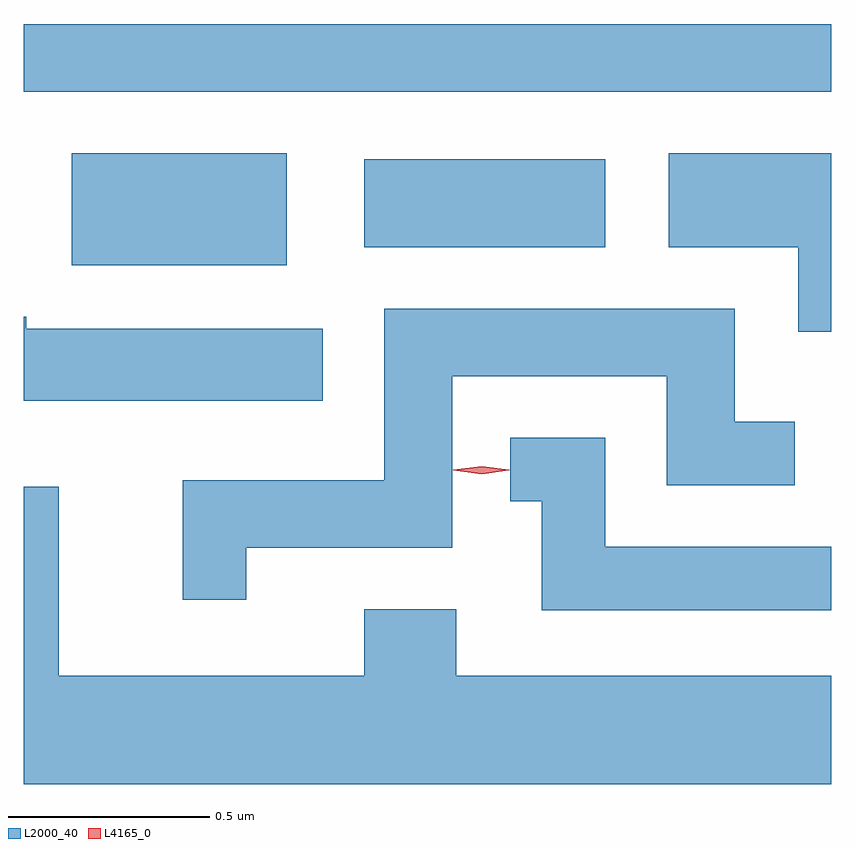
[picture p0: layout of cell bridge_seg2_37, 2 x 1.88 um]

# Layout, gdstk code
import gdstk
lib = gdstk.Library(unit=1e-6, precision=1e-09)
def R(c, l, rs):  # rectangles x0, y0, x1, y1
    for r in rs: c.add(gdstk.rectangle(r[:2], r[2:], *l))
def P(c, l, *ps):  # polygons
    for p in ps: c.add(gdstk.Polygon(p, *l))
L2000_40 = (2000, 40)
L4165_0 = (4165, 0)

bridge_seg2_37 = lib.new_cell('bridge_seg2_37')
R(bridge_seg2_37, L2000_40, [(1409.996,1054.041,1410.529,1054.319), (1410.721,1054.086,1411.319,1054.304), (1409.878,1054.471,1411.878,1054.639)])
P(bridge_seg2_37, L2000_40, [(1411.878,1054.319),(1411.476,1054.319),(1411.476,1054.086),(1411.796,1054.086),(1411.796,1053.876),(1411.878,1053.876)],
  [(1410.429,1053.341),(1410.939,1053.341),(1410.939,1053.766),(1411.471,1053.766),(1411.471,1053.496),(1411.788,1053.496),(1411.788,1053.654),(1411.639,1053.654),(1411.639,1053.934),(1410.771,1053.934),(1410.771,1053.509),(1410.271,1053.509),(1410.271,1053.213),(1410.429,1053.213)],
  [(1410.619,1053.884),(1409.884,1053.884),(1409.884,1053.914),(1409.878,1053.914),(1409.878,1053.706),(1410.619,1053.706)],
  [(1411.878,1053.344),(1411.319,1053.344),(1411.319,1053.614),(1411.083,1053.614),(1411.083,1053.456),(1411.161,1053.456),(1411.161,1053.186),(1411.878,1053.186)],
  [(1411.878,1053.024),(1410.949,1053.024),(1410.949,1053.189),(1410.721,1053.189),(1410.721,1053.024),(1409.964,1053.024),(1409.964,1053.493),(1409.878,1053.493),(1409.878,1052.756),(1411.878,1052.756)])
P(bridge_seg2_37, L4165_0, [(1411.012,1053.524),(1410.942,1053.533),(1410.942,1053.534),(1410.942,1053.534),(1411.012,1053.543),(1411.081,1053.534),(1411.081,1053.534),(1411.081,1053.533)])

lib.write_gds('bridge_seg2_37.gds')
